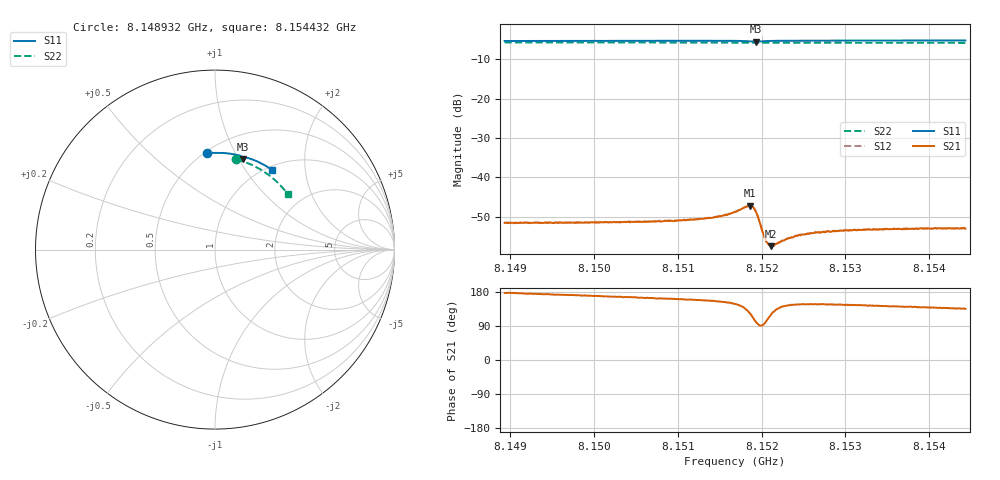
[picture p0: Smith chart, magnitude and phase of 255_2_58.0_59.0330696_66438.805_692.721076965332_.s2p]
#  HZ  S  RI  R  50.00
! Rohde & Schwarz Vector Network Analyzer
! Rohde-Schwarz,ZNB20-2Port,1311601062101988,3.16
! Created: UTC 3/21/2024, 1:01:44 AM
! freq[Hz]  re:S11  im:S11  re:S21  im:S21  re:S12  im:S12  re:S22  im:S22
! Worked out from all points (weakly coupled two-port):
!   401 points, 8.148932 GHz to 8.154432 GHz, reference 50 ohm
!   highest |S21| = -47.26 dB at 8.151861 GHz (marker M1); lowest = -57.5 dB at 8.152108 GHz (marker M2)
!   lowest |S11| = -5.5 dB at 8.151929 GHz (marker M3), VSWR 3.24, Z = 37.3 + j52.2 ohm
!   |S11| at or under -10 dB: nowhere
!   |S22| runs from -5.9 to -5.7 dB; largest |S21 - S12| = 0.00014
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8.1489318e9  -0.0448 0.5361  -0.00263 0.000138  -0.00266 0.000186  0.1189 0.5021
8.1498531e9  0.0195 0.5392  -0.00261 0.000476  -0.00261 0.000489  0.1759 0.4842
8.1507744e9  0.0836 0.5346  -0.00265 0.000821  -0.00265 0.000884  0.2303 0.4596
8.1513794e9  0.1263 0.5268  -0.00277 0.00122  -0.00278 0.00124  0.2641 0.4403
8.1515582e9  0.1394 0.5231  -0.00293 0.00149  -0.00295 0.00155  0.2739 0.434
8.1516819e9  0.1489 0.5195  -0.00307 0.00193  -0.00305 0.00201  0.2805 0.4294
8.1518194e9  0.1585 0.5115  -0.00285 0.0031  -0.00285 0.00319  0.2875 0.4241
8.1518607e9  0.1593 0.5077  -0.00236 0.00364  -0.00236 0.00371  0.2896 0.4225
8.1518882e9  0.1584 0.5056  -0.00174 0.00386  -0.00169 0.00393  0.2909 0.4216
8.1519294e9  0.1561 0.505  -0.000708 0.0036  -0.000638 0.00364  0.2928 0.42
8.1519569e9  0.1551 0.5066  -0.00024 0.00312  -0.000183 0.00312  0.2944 0.4193
8.1520119e9  0.157 0.5105  -6.37e-05 0.00201  -5.57e-05 0.00203  0.2972 0.4172
8.1520394e9  0.1592 0.5119  -0.000219 0.00163  -0.000229 0.00168  0.2985 0.4163
8.1520669e9  0.1616 0.5127  -0.000409 0.00142  -0.000377 0.00144  0.3001 0.4154
8.1521082e9  0.1654 0.5133  -0.000625 0.00118  -0.000644 0.00123  0.3022 0.4138
8.1521494e9  0.169 0.5131  -0.000822 0.00107  -0.000861 0.00109  0.3043 0.4121
8.1523007e9  0.181 0.5111  -0.00132 0.000972  -0.00133 0.00099  0.3119 0.406
8.1524244e9  0.1901 0.5085  -0.00152 0.000981  -0.00149 0.00101  0.3183 0.4012
8.1526032e9  0.2025 0.5043  -0.00164 0.00106  -0.00164 0.00107  0.3269 0.3936
8.1529882e9  0.2279 0.4943  -0.00172 0.0012  -0.00177 0.00123  0.3453 0.3773
8.1535245e9  0.2616 0.4782  -0.00171 0.00134  -0.00173 0.00136  0.3689 0.3529
8.154432e9  0.3158 0.446  -0.00157 0.00157  -0.00159 0.0016  0.4055 0.3082
